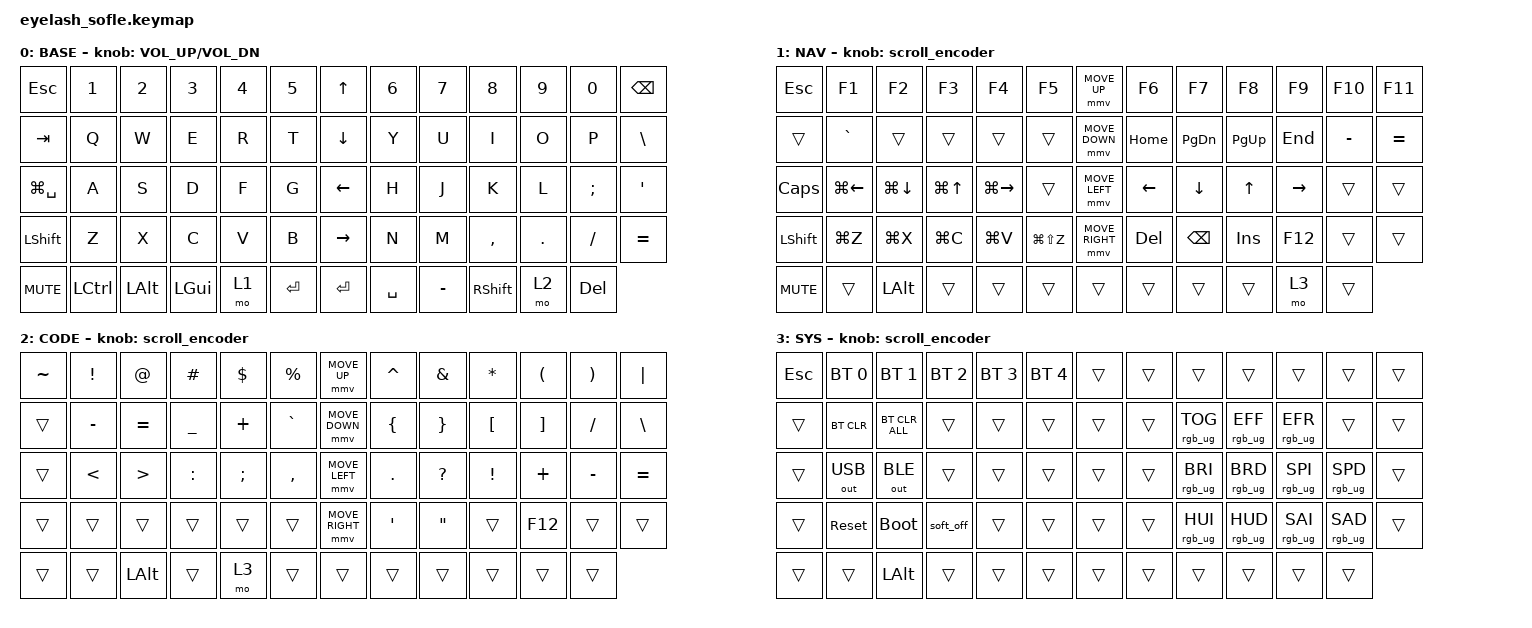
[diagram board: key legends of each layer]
// ============================================================================
// ZMK Keymap simplifié - Uniquement layers momentanés (&mo)
// - M1 = momentary NAV
// - M2 = momentary CODE
// - M1 + M2 ensemble = accès au layer SYS
// ============================================================================

#define ZMK_POINTING_DEFAULT_MOVE_VAL 1200
#define ZMK_POINTING_DEFAULT_SCRL_VAL 25

#include <input/processors.dtsi>
#include <zephyr/dt-bindings/input/input-event-codes.h>
#include <behaviors.dtsi>
#include <dt-bindings/zmk/bt.h>
#include <dt-bindings/zmk/ext_power.h>
#include <dt-bindings/zmk/keys.h>
#include <dt-bindings/zmk/pointing.h>
#include <dt-bindings/zmk/rgb.h>
#include <dt-bindings/zmk/outputs.h>

&mmv_input_listener { input-processors = <&zip_xy_scaler 2 1>; };
&msc_input_listener { input-processors = <&zip_scroll_scaler 2 1>; };

&msc { acceleration-exponent = <1>; time-to-max-speed-ms = <100>; delay-ms = <0>; };
&mmv { time-to-max-speed-ms = <500>; acceleration-exponent = <1>; trigger-period-ms = <16>; };

/ {
  // Encodeur -> scroll
  scroll_encoder: scroll_encoder {
    compatible = "zmk,behavior-sensor-rotate";
    #sensor-binding-cells = <0>;
    bindings = <&msc SCRL_DOWN>, <&msc SCRL_UP>;
    tap-ms = <100>;
  };

  // KEYMAP
  keymap {
    compatible = "zmk,keymap";

    // ===== BASE =====
    BASE {
      bindings = <
&kp ESC        &kp N1     &kp N2        &kp N3        &kp N4       &kp N5     &kp UP         &kp N6     &kp N7     &kp N8     &kp N9       &kp N0     &kp BACKSPACE
&kp TAB        &kp Q      &kp W         &kp E         &kp R        &kp T      &kp DOWN       &kp Y      &kp U      &kp I      &kp O        &kp P      &kp BSLH
&kp LG(SPACE)  &kp A      &kp S         &kp D         &kp F        &kp G      &kp LEFT       &kp H      &kp J      &kp K      &kp L        &kp SEMI   &kp APOS
&kp LSHFT      &kp Z      &kp X         &kp C         &kp V        &kp B      &kp RIGHT      &kp N      &kp M      &kp COMMA  &kp DOT      &kp FSLH   &kp EQUAL
&kp C_MUTE     &kp LCTRL  &kp LEFT_ALT  &kp LEFT_GUI  &mo 1        &kp ENTER  &kp ENTER      &kp SPACE  &kp MINUS  &kp RSHFT  &mo 2        &kp DELETE
      >;
      sensor-bindings = <&inc_dec_kp C_VOLUME_UP C_VOL_DN>;
      display-name = "BASE";
    };

    // ===== NAV =====
    NAV {
      bindings = <
&kp ESC     &kp F1        &kp F2         &kp F3         &kp F4          &kp F5           &mmv MOVE_UP     &kp F6        &kp F7        &kp F8        &kp F9        &kp F10       &kp F11
&trans      &kp GRAVE     &trans         &trans         &trans          &trans           &mmv MOVE_DOWN   &kp HOME      &kp PG_DN     &kp PG_UP     &kp END       &kp MINUS     &kp EQUAL
&kp CAPS    &kp LG(LEFT)  &kp LG(DOWN)   &kp LG(UP)     &kp LG(RIGHT)   &trans           &mmv MOVE_LEFT   &kp LEFT      &kp DOWN      &kp UP        &kp RIGHT     &trans        &trans
&kp LSHFT   &kp LG(Z)     &kp LG(X)      &kp LG(C)      &kp LG(V)       &kp LG(LS(Z))    &mmv MOVE_RIGHT  &kp DEL       &kp BACKSPACE &kp INS       &kp F12       &trans        &trans
&kp C_MUTE  &trans        &kp LEFT_ALT   &trans         &trans          &trans           &trans           &trans        &trans        &trans        &mo 3         &trans
      >;
      display-name = "NAV";
      sensor-bindings = <&scroll_encoder>;
    };

    // ===== CODE =====
    CODE {
      bindings = <
&kp TILDE   &kp EXCL     &kp AT          &kp HASH       &kp DOLLAR      &kp PERCENT     &mmv MOVE_UP     &kp CARET     &kp AMPS      &kp ASTERISK      &kp LPAR          &kp RPAR   &kp PIPE
&trans      &kp MINUS    &kp EQUAL       &kp UNDER      &kp PLUS        &kp GRAVE       &mmv MOVE_DOWN   &kp LBRC      &kp RBRC      &kp LEFT_BRACKET  &kp RIGHT_BRACKET &kp SLASH  &kp BSLH
&trans      &kp LT       &kp GT          &kp COLON      &kp SEMI        &kp COMMA       &mmv MOVE_LEFT   &kp DOT       &kp QMARK     &kp EXCL          &kp PLUS          &kp MINUS  &kp EQUAL
&trans      &trans       &trans          &trans         &trans          &trans          &mmv MOVE_RIGHT  &kp SQT       &kp DQT       &trans            &kp F12           &trans     &trans
&trans      &trans       &kp LEFT_ALT    &trans         &mo 3           &trans          &trans           &trans        &trans        &trans            &trans            &trans
      >;
      display-name = "CODE";
      sensor-bindings = <&scroll_encoder>;
    };

    // ===== SYS =====
    SYS {
      bindings = <
&kp ESC       &bt BT_SEL 0    &bt BT_SEL 1    &bt BT_SEL 2  &bt BT_SEL 3  &bt BT_SEL 4  &trans  &trans          &trans          &trans          &trans          &trans       &trans
&trans        &bt BT_CLR      &bt BT_CLR_ALL  &trans        &trans        &trans        &trans  &trans          &rgb_ug RGB_TOG &rgb_ug RGB_EFF &rgb_ug RGB_EFR &trans       &trans
&trans        &out OUT_USB    &out OUT_BLE    &trans        &trans        &trans        &trans  &trans          &rgb_ug RGB_BRI &rgb_ug RGB_BRD &rgb_ug RGB_SPI &rgb_ug RGB_SPD &trans
&trans        &sys_reset      &bootloader     &soft_off     &trans        &trans        &trans  &trans          &rgb_ug RGB_HUI &rgb_ug RGB_HUD &rgb_ug RGB_SAI &rgb_ug RGB_SAD  &trans
&trans        &trans          &kp LEFT_ALT    &trans        &trans        &trans        &trans  &trans          &trans          &trans          &trans          &trans
  >;
  display-name = "SYS";
  sensor-bindings = <&scroll_encoder>;
    };
  };
};
